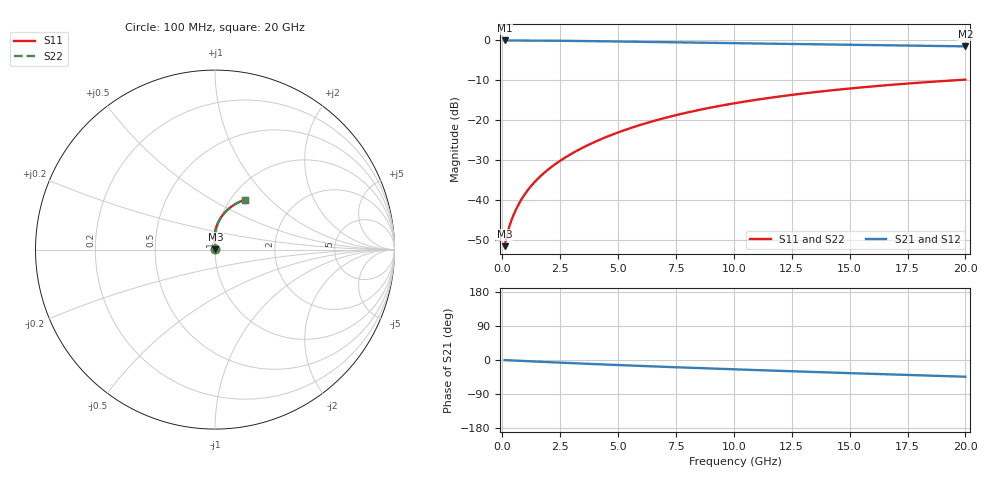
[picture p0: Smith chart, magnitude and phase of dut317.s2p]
! Touchstone file exported from HFSS 2024.1.0
!  File:  C:/UserFiles/LocalFiles/RDL_TSV_Batchsim/temp_RDL_bottom_317_1779610910.aedt
!  Generated:  04:24:05 PM May 24, 2026
!  Design:  RDL_bottom
!  Project:  temp_RDL_bottom_317_1779610910
!  Setup:  Setup1
!  Solution:  Sweep
! Variables:
!  dtsv = 10.80580581um
!  hbump = 3um
!  htsv = 62.13um
!  ldown = 670.75um
!  lrdl = 100um
!  p = 40
!  p1 = 53.25um
!  rhole = 1um
!  t = 450um
!  tdown = 4.08um
!  trdl = 3.915915916um
!  wdown = 29.46um
!  wrdl = 20um
# GHz S MA R 50.000000
! Terminal data exported
! Port[1] = RDL1_T1
! Port[2] = RDL1_T2
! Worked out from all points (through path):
!   200 points, 100 MHz to 20 GHz, reference 50 ohm
!   highest |S21| = -0.02 dB at 100 MHz (marker M1); lowest = -1.5 dB at 20 GHz (marker M2)
!   group delay of S21, straight-line fit = 6.02 ps
!   lowest |S11| = -51.5 dB at 100 MHz (marker M3), VSWR 1.01, Z = 50.2 + j0.145 ohm
!   |S11| at or under -10 dB: start of sweep to 19.5 GHz
!   |S22| runs from -51.5 to -9.8 dB; largest |S21 - S12| = 1.3e-14
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0.1  0.002657 32.8  0.9977 -0.3  0.9977 -0.3  0.002657 32.8
! Gamma 0 0 0 0
! Port Impedance 50 0 50 0
0.2  0.003634 48.3  0.9975 -0.6  0.9975 -0.6  0.003634 48.3
0.3  0.004638 56.7  0.9973 -0.9  0.9973 -0.9  0.004638 56.7
0.5  0.006677 66.9  0.9968 -1.4  0.9968 -1.4  0.006677 66.9
0.6  0.007733 70.4  0.9966 -1.7  0.9966 -1.7  0.007733 70.4
0.8  0.009918 75.5  0.9962 -2.3  0.9962 -2.3  0.009918 75.4
1  0.01218 79.0  0.9956 -2.8  0.9956 -2.8  0.01218 79.0
1.2  0.01451 81.6  0.995 -3.4  0.995 -3.4  0.01451 81.6
1.7  0.02061 86.0  0.9929 -4.8  0.9929 -4.8  0.02061 86.0
2.2  0.02709 88.7  0.9903 -6.1  0.9903 -6.1  0.02708 88.6
2.8  0.03539 90.6  0.9865 -7.8  0.9865 -7.8  0.03537 90.6
3.5  0.0458 91.8  0.9813 -9.6  0.9813 -9.6  0.04577 91.8
4.2  0.05694 92.1  0.9755 -11.4  0.9755 -11.4  0.0569 92.1
5  0.07044 91.8  0.9684 -13.3  0.9684 -13.3  0.07038 91.8
5.9  0.08639 90.8  0.9602 -15.5  0.9602 -15.5  0.08631 90.7
6.8  0.1029 89.2  0.9519 -17.6  0.9519 -17.6  0.1028 89.2
8.4  0.1328 85.8  0.9372 -21.1  0.9372 -21.1  0.1327 85.8
10.1  0.1646 81.8  0.9221 -24.8  0.9221 -24.8  0.1644 81.8
11.7  0.1937 77.9  0.9083 -28.1  0.9083 -28.1  0.1935 77.9
13.4  0.2233 73.8  0.8941 -31.5  0.8941 -31.5  0.2231 73.8
16.7  0.2763 66.2  0.8674 -37.9  0.8674 -37.9  0.2761 66.2
20  0.3228 59.1  0.8417 -44.1  0.8417 -44.1  0.3225 59.1
